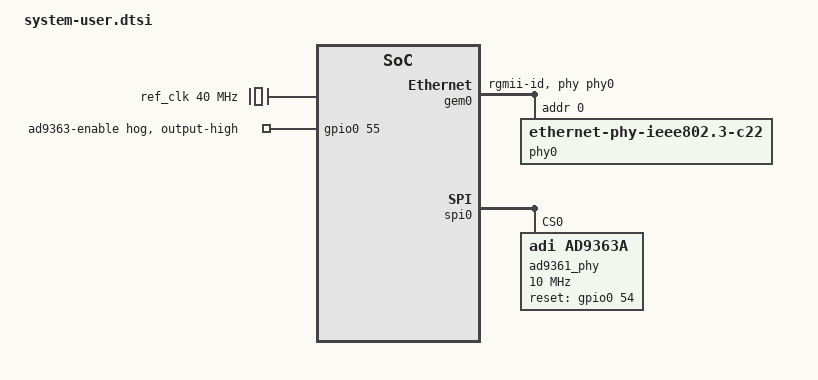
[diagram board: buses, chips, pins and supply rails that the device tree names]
#include <dt-bindings/gpio/gpio.h>

/ {
    chosen {
        bootargs = "earlycon clk_ignore_unused";
    };

    ref_clk: ref_clk {
        compatible = "fixed-clock";
        #clock-cells = <0>;
        clock-frequency = <40000000>;
    };

    reserved-memory {
        #address-cells = <1>;
        #size-cells = <1>;
        ranges;

        rx_buffer: rx_buffer@20000000 {
            reg = <0x10000000 0x08000000>; /* 128 MB at 256MB */
        };

        tx_buffer: tx_buffer@28000000 {
            reg = <0x18000000 0x08000000>; /* 128 MB at 384MB */
        };

    };
};

&amba {
    ad936x_axi: ad936x-axi@43c00000 {
        compatible = "custom,ad936x-axi";
        reg = <0x43C00000 0x10000>;
        memory-region = <&tx_buffer &rx_buffer>;
    };
};

&gem0 {
    status = "okay";
    phy-mode = "rgmii-id";
    phy-handle = <&phy0>;

    phy0: phy@0 {
        reg = <0>;
        compatible = "ethernet-phy-ieee802.3-c22";
    };
};

/* Drive AD9363 ENABLE high at boot via GPIO hog.
   The AD9361 driver version in use does not claim enable-gpios/txnrx-gpios
   from DT, so the GPIO controller itself drives ENABLE (EMIO[1]=offset 55)
   high unconditionally. Without this the chip stays in sleep/alert state
   and outputs no LVDS data. */
&gpio0 {
    ad9363-enable-hog {
        gpio-hog;
        gpios = <55 GPIO_ACTIVE_HIGH>;
        output-high;
        line-name = "ad9363-enable";
    };
};

&spi0 {
    status = "okay";

    ad9361_phy: ad9361-phy@0 {
        compatible = "adi,ad9363a";
        reg = <0>;
        spi-max-frequency = <10000000>;
        spi-cpha;

        #address-cells = <1>;
        #size-cells = <0>;
        #clock-cells = <1>;
        clock-output-names = "rx_sampl_clk", "tx_sampl_clk";

        clocks = <&ref_clk>;
        clock-names = "ad9361_ext_refclk";

        reset-gpios = <&gpio0 54 GPIO_ACTIVE_HIGH>;

        adi,rx-path-clock-frequencies = <983040000 245760000 122880000 61440000 30720000 30720000>;
        adi,tx-path-clock-frequencies = <983040000 122880000 122880000 61440000 30720000 30720000>;

        /* Use the external 40 MHz reference, no internal XO */
        adi,xo-disable-use-ext-refclk-enable;

        adi,frequency-division-duplex-mode-enable;

        adi,lvds-mode-enable;
        adi,lvds-bias-mV = <150>;
        adi,lvds-rx-onchip-termination-enable;

        adi,rx-frame-pulse-mode-enable;

        // Correct IQ order on AD9361 output
        adi,pp-rx-swap-enable;
        adi,pp-tx-swap-enable;

        // LVDS bus delays
        adi,rx-data-clock-delay = <0xc>;
        adi,rx-data-delay = <0x0>;
        adi,tx-fb-clock-delay = <0x0>;
        adi,tx-data-delay = <0x8>;

        // Skip digital interface tuning - ADI AXI IP not used
        adi,digital-interface-tune-skip-mode = <2>;

        // Debug: clock output
        adi,clk-output-mode-select = <1>; // XTALN (or DCXO) (buffered)

        /* RF bandwidth */
        adi,rf-rx-bandwidth-hz = <2000000>;
        adi,rf-tx-bandwidth-hz = <2000000>;

        /* LO frequencies */
        adi,rx-synthesizer-frequency-hz = /bits/ 64 <433920000>;
        adi,tx-synthesizer-frequency-hz = /bits/ 64 <433920000>;

        /* Gain control — manual mode */
        adi,gc-rx1-mode = <0>;

        /* TX attenuation: 20 dB (value in millidB) */
        adi,tx-attenuation-mdB = <20000>;
    };
};
